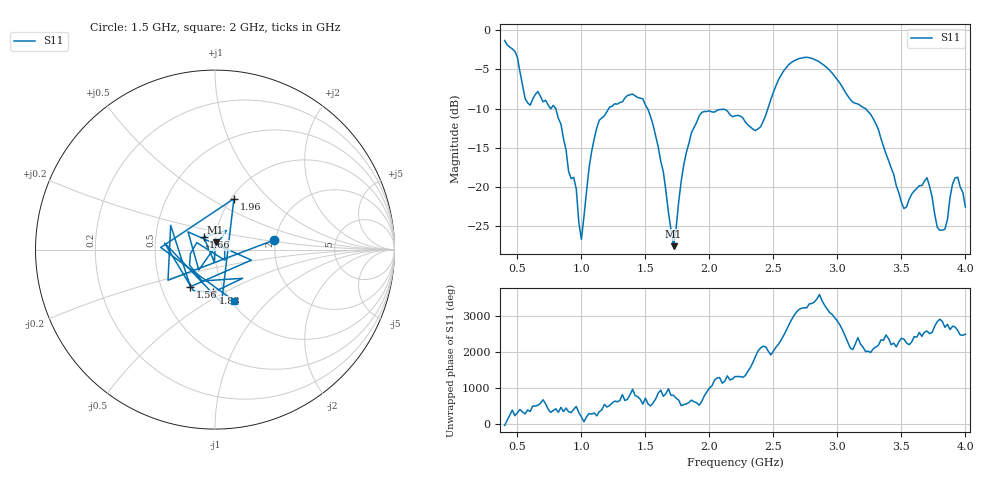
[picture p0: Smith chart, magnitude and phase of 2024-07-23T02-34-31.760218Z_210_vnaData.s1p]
!Created with skrf (http://scikit-rf.org).
# Hz S RI R 50.0
!freq ReS11 ImS11
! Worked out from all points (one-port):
!   181 points, 400 MHz to 4 GHz, reference 50 ohm
!   lowest |S11| = -27.6 dB at 1.72 GHz (marker M1), VSWR 1.09, Z = 50.2 + j4.17 ohm
!   |S11| at or under -10 dB: 799 MHz to 1.214 GHz (414.7 MHz wide, 41.2 % of centre); 1.516 GHz to 2.457 GHz (940.6 MHz wide, 47.4 % of centre); 3.219 GHz to end of sweep (the widest 3 of 4)
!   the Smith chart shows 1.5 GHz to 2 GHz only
!   S11 on the Smith chart (normalised r, x): 1.5 GHz: 1.96, +0.23; 1.56 GHz: 0.70, -0.31; 1.66 GHz: 0.87, +0.12; 1.88 GHz: 0.87, -0.44; 1.96 GHz: 1.03, +0.64; 2 GHz: 1.03, -0.65
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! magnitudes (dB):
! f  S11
! 400 MHz  -1.3
! 580 MHz  -9.3
! 780 MHz  -9.6
! 860 MHz  -13.9
! 960 MHz  -20.3
! 1 GHz  -26.7
! 1.12 GHz  -12.5
! 1.3 GHz  -9.2
! 1.5 GHz  -9.5
! 1.56 GHz  -12.1
! 1.66 GHz  -20.5
! 1.72 GHz  -27.6
! 1.76 GHz  -22.0
! 1.88 GHz  -12.4
! 1.96 GHz  -10.4
! 2 GHz  -10.3
! 2.2 GHz  -10.9
! 2.4 GHz  -12.3
! 2.66 GHz  -3.9
! 3.1 GHz  -8.8
! 3.28 GHz  -11.3
! 3.52 GHz  -22.8
! 3.56 GHz  -21.7
! 3.7 GHz  -18.9
! 3.78 GHz  -25.2
! 3.84 GHz  -25.5
! 3.94 GHz  -18.8
! 4 GHz  -22.6
